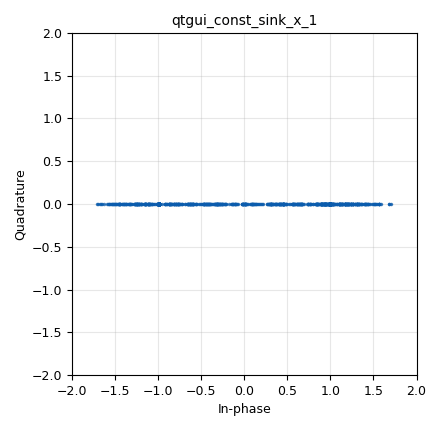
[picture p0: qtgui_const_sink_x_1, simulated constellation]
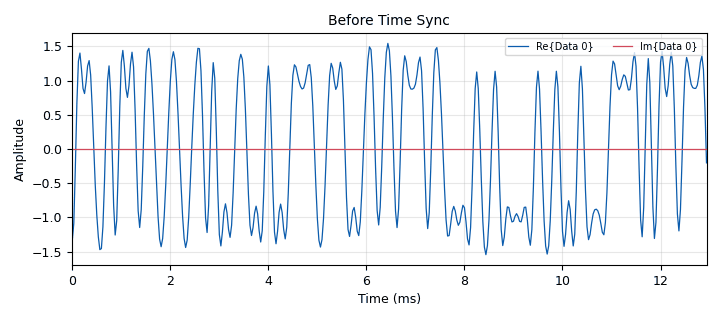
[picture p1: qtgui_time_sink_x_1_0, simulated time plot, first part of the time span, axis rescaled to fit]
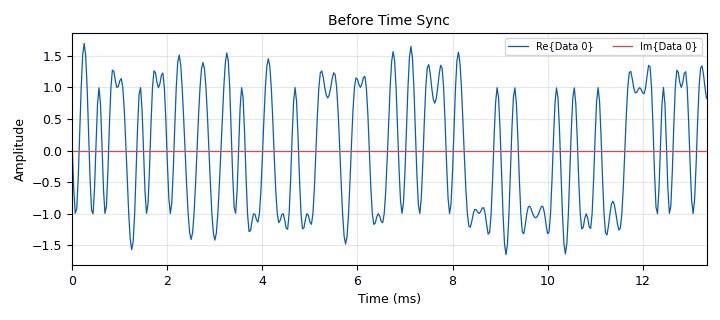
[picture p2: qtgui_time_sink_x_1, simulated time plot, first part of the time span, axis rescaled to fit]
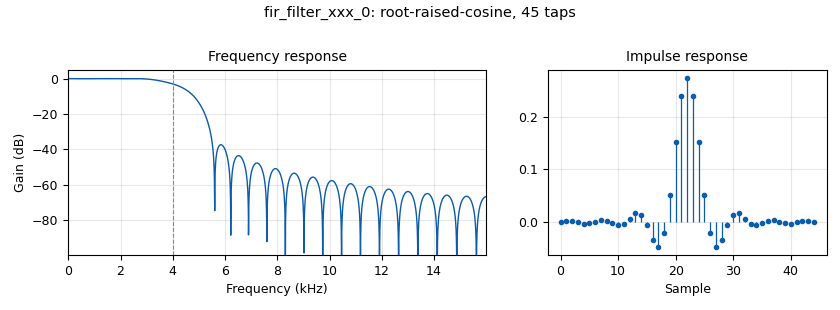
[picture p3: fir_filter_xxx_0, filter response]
<?xml version='1.0' encoding='utf-8'?>
<?grc format='1' created='3.7.8'?>
<flow_graph>
<block>
<key>options</key>
<param><key>id</key><value>top_block</value></param>
<param><key>generate_options</key><value>qt_gui</value></param>
<param><key>category</key><value>Custom</value></param>
</block>
<block>
<key>variable</key>
<param><key>id</key><value>delay</value></param>
<param><key>value</key><value>range_delay</value></param>
</block>
<block>
<key>variable</key>
<param><key>id</key><value>samp_rate</value></param>
<param><key>value</key><value>32000</value></param>
</block>
<block>
<key>variable</key>
<param><key>id</key><value>sps</value></param>
<param><key>value</key><value>4</value></param>
</block>
<block>
<key>variable</key>
<param><key>id</key><value>sym_rate</value></param>
<param><key>value</key><value>samp_rate / sps</value></param>
</block>
<block>
<key>variable_qtgui_range</key>
<param><key>id</key><value>range_delay</value></param>
<param><key>label</key><value>Delay</value></param>
<param><key>value</key><value>0</value></param>
<param><key>start</key><value>0</value></param>
<param><key>stop</key><value>2*sps</value></param>
<param><key>step</key><value>1</value></param>
<param><key>orient</key><value>Qt.Horizontal</value></param>
</block>
<block>
<key>analog_random_source_x</key>
<param><key>id</key><value>analog_random_source_x_0</value></param>
<param><key>type</key><value>byte</value></param>
<param><key>min</key><value>0</value></param>
<param><key>max</key><value>255</value></param>
<param><key>num_samps</key><value>1000</value></param>
<param><key>repeat</key><value>True</value></param>
</block>
<block>
<key>blocks_throttle</key>
<param><key>id</key><value>blocks_throttle_0</value></param>
<param><key>type</key><value>complex</value></param>
<param><key>samples_per_second</key><value>samp_rate</value></param>
</block>
<block>
<key>qtgui_tab_widget</key>
<param><key>id</key><value>tab</value></param>
<param><key>num_tabs</key><value>2</value></param>
<param><key>label0</key><value>Before Sync</value></param>
<param><key>label1</key><value>After Sync</value></param>
</block>
<block>
<key>qtgui_time_sink_x</key>
<param><key>id</key><value>qtgui_time_sink_x_0</value></param>
<param><key>type</key><value>complex</value></param>
<param><key>name</key><value>"After Time Sync"</value></param>
<param><key>size</key><value>1024</value></param>
<param><key>srate</key><value>sym_rate</value></param>
<param><key>gui_hint</key><value>tab@1</value></param>
<param><key>label1</key><value></value></param>
<param><key>color1</key><value>"blue"</value></param>
<param><key>label2</key><value></value></param>
<param><key>color2</key><value>"red"</value></param>
</block>
<block>
<key>qtgui_const_sink_x</key>
<param><key>id</key><value>qtgui_const_sink_x_0</value></param>
<param><key>type</key><value>complex</value></param>
<param><key>name</key><value>"After"</value></param>
<param><key>size</key><value>1024</value></param>
<param><key>gui_hint</key><value>tab@1</value></param>
</block>
<block>
<key>inets_timing_recovery_cc</key>
<param><key>id</key><value>inets_timing_recovery_cc_0</value></param>
<param><key>sps</key><value>sps</value></param>
</block>
<block>
<key>blocks_delay</key>
<param><key>id</key><value>blocks_delay_0</value></param>
<param><key>type</key><value>complex</value></param>
<param><key>delay</key><value>int(delay)</value></param>
</block>
<block>
<key>qtgui_const_sink_x</key>
<param><key>id</key><value>qtgui_const_sink_x_1</value></param>
<param><key>type</key><value>complex</value></param>
<param><key>size</key><value>1024</value></param>
<param><key>gui_hint</key><value>tab@0</value></param>
</block>
<block>
<key>fir_filter_xxx</key>
<param><key>id</key><value>fir_filter_xxx_0</value></param>
<param><key>type</key><value>ccf</value></param>
<param><key>decim</key><value>1</value></param>
<param><key>taps</key><value>rrc</value></param>
</block>
<block>
<key>variable_rrc_filter_taps</key>
<param><key>id</key><value>rrc</value></param>
<param><key>gain</key><value>1.0</value></param>
<param><key>samp_rate</key><value>samp_rate</value></param>
<param><key>sym_rate</key><value>sym_rate</value></param>
<param><key>alpha</key><value>0.35</value></param>
<param><key>ntaps</key><value>11*sps</value></param>
</block>
<block>
<key>digital_psk_mod</key>
<param><key>id</key><value>digital_psk_mod_0</value></param>
<param><key>constellation_points</key><value>2</value></param>
<param><key>mod_code</key><value>"none"</value></param>
<param><key>differential</key><value>False</value></param>
<param><key>samples_per_symbol</key><value>sps</value></param>
<param><key>excess_bw</key><value>0.35</value></param>
</block>
<block>
<key>qtgui_time_sink_x</key>
<param><key>id</key><value>qtgui_time_sink_x_1_0</value></param>
<param><key>type</key><value>complex</value></param>
<param><key>name</key><value>"Before Time Sync"</value></param>
<param><key>size</key><value>4096</value></param>
<param><key>srate</key><value>samp_rate</value></param>
<param><key>gui_hint</key><value>tab@0</value></param>
<param><key>label1</key><value></value></param>
<param><key>color1</key><value>"blue"</value></param>
<param><key>label2</key><value></value></param>
<param><key>color2</key><value>"red"</value></param>
</block>
<block>
<key>qtgui_time_sink_x</key>
<param><key>id</key><value>qtgui_time_sink_x_1</value></param>
<param><key>type</key><value>complex</value></param>
<param><key>name</key><value>"Before Time Sync"</value></param>
<param><key>size</key><value>4096</value></param>
<param><key>srate</key><value>samp_rate</value></param>
<param><key>gui_hint</key><value>tab@0</value></param>
<param><key>label1</key><value></value></param>
<param><key>color1</key><value>"blue"</value></param>
<param><key>label2</key><value></value></param>
<param><key>color2</key><value>"red"</value></param>
</block>
<connection><source_block_id>analog_random_source_x_0</source_block_id><sink_block_id>digital_psk_mod_0</sink_block_id><source_key>0</source_key><sink_key>0</sink_key></connection>
<connection><source_block_id>inets_timing_recovery_cc_0</source_block_id><sink_block_id>qtgui_time_sink_x_0</sink_block_id><source_key>0</source_key><sink_key>0</sink_key></connection>
<connection><source_block_id>fir_filter_xxx_0</source_block_id><sink_block_id>qtgui_time_sink_x_1</sink_block_id><source_key>0</source_key><sink_key>0</sink_key></connection>
<connection><source_block_id>digital_psk_mod_0</source_block_id><sink_block_id>blocks_throttle_0</sink_block_id><source_key>0</source_key><sink_key>0</sink_key></connection>
<connection><source_block_id>blocks_throttle_0</source_block_id><sink_block_id>blocks_delay_0</sink_block_id><source_key>0</source_key><sink_key>0</sink_key></connection>
<connection><source_block_id>fir_filter_xxx_0</source_block_id><sink_block_id>qtgui_const_sink_x_1</sink_block_id><source_key>0</source_key><sink_key>0</sink_key></connection>
<connection><source_block_id>fir_filter_xxx_0</source_block_id><sink_block_id>inets_timing_recovery_cc_0</sink_block_id><source_key>0</source_key><sink_key>0</sink_key></connection>
<connection><source_block_id>inets_timing_recovery_cc_0</source_block_id><sink_block_id>qtgui_const_sink_x_0</sink_block_id><source_key>0</source_key><sink_key>0</sink_key></connection>
<connection><source_block_id>blocks_delay_0</source_block_id><sink_block_id>fir_filter_xxx_0</sink_block_id><source_key>0</source_key><sink_key>0</sink_key></connection>
<connection><source_block_id>blocks_delay_0</source_block_id><sink_block_id>qtgui_time_sink_x_1_0</sink_block_id><source_key>0</source_key><sink_key>0</sink_key></connection>
</flow_graph>
